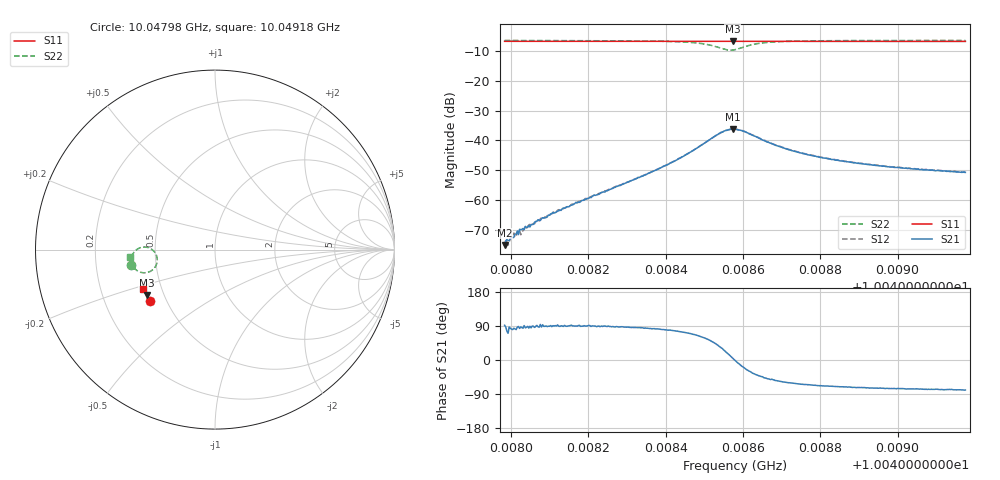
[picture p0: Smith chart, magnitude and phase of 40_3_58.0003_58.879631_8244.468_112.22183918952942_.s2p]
#  HZ  S  RI  R  50.00
! Rohde & Schwarz Vector Network Analyzer
! Rohde-Schwarz,ZNB20-2Port,1311601062101988,3.16
! Created: UTC 3/21/2024, 12:52:03 AM
! freq[Hz]  re:S11  im:S11  re:S21  im:S21  re:S12  im:S12  re:S22  im:S22
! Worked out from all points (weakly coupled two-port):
!   401 points, 10.04798 GHz to 10.04918 GHz, reference 50 ohm
!   highest |S21| = -36.23 dB at 10.04857 GHz (marker M1); lowest = -75.2 dB at 10.04798 GHz (marker M2)
!   lowest |S11| = -6.8 dB at 10.04857 GHz (marker M3), VSWR 2.68, Z = 20.1 - j12.8 ohm
!   |S11| at or under -10 dB: nowhere
!   |S22| runs from -9.7 to -6.5 dB; largest |S21 - S12| = 0.0013
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1.0047983e10  -0.36 -0.2854  -5.25e-06 0.000174  4.28e-05 0.000161  -0.4663 -0.0867
1.0047998e10  -0.3607 -0.2846  2.49e-05 0.000224  1.28e-05 0.000223  -0.4664 -0.0854
1.0048001e10  -0.3609 -0.2846  3.52e-05 0.00023  2.12e-05 0.00023  -0.4663 -0.0851
1.0048022e10  -0.3617 -0.2833  3.77e-05 0.000319  7.2e-08 0.00031  -0.4666 -0.0832
1.0048031e10  -0.3619 -0.2829  3.48e-05 0.000328  1.06e-06 0.000303  -0.4666 -0.0822
1.0048043e10  -0.3623 -0.2822  6.94e-06 0.000345  -2e-05 0.000356  -0.4668 -0.0812
1.0048103e10  -0.3648 -0.279  -9.91e-06 0.000575  -4.1e-05 0.000578  -0.4672 -0.0752
1.0048183e10  -0.3678 -0.2745  1.22e-05 0.000975  -5.42e-05 0.000962  -0.4674 -0.0662
1.0048383e10  -0.3755 -0.2634  0.000482 0.00329  0.000288 0.00336  -0.4606 -0.0312
1.0048451e10  -0.3778 -0.2593  0.00169 0.00539  0.00145 0.0055  -0.4458 -0.00836
1.0048493e10  -0.3793 -0.2567  0.00405 0.00727  0.00364 0.00748  -0.4208 0.0088
1.0048523e10  -0.3799 -0.2549  0.00766 0.00819  0.00717 0.00861  -0.3846 0.0137
1.004855e10  -0.3804 -0.2534  0.0126 0.00642  0.012 0.00718  -0.341 -0.00852
1.0048574e10  -0.3806 -0.2526  0.0154 0.00128  0.0151 0.00237  -0.3217 -0.0598
1.0048579e10  -0.3809 -0.2523  0.0153 -0.000223  0.0152 0.000796  -0.3236 -0.0742
1.0048612e10  -0.3822 -0.2512  0.0119 -0.00603  0.0123 -0.00533  -0.3654 -0.1234
1.0048654e10  -0.3842 -0.2491  0.00681 -0.00729  0.00739 -0.00677  -0.4155 -0.126
1.0048714e10  -0.3867 -0.2457  0.00365 -0.00613  0.00405 -0.00596  -0.4463 -0.1069
1.0048779e10  -0.389 -0.2419  0.00224 -0.00505  0.00256 -0.00495  -0.4586 -0.0902
1.0048866e10  -0.392 -0.2369  0.00145 -0.00416  0.00168 -0.00411  -0.4658 -0.0745
1.0048979e10  -0.3957 -0.2303  0.000904 -0.00345  0.00116 -0.00344  -0.4699 -0.0595
1.0049176e10  -0.4018 -0.2187  0.000543 -0.00283  0.000728 -0.00286  -0.4729 -0.0398
